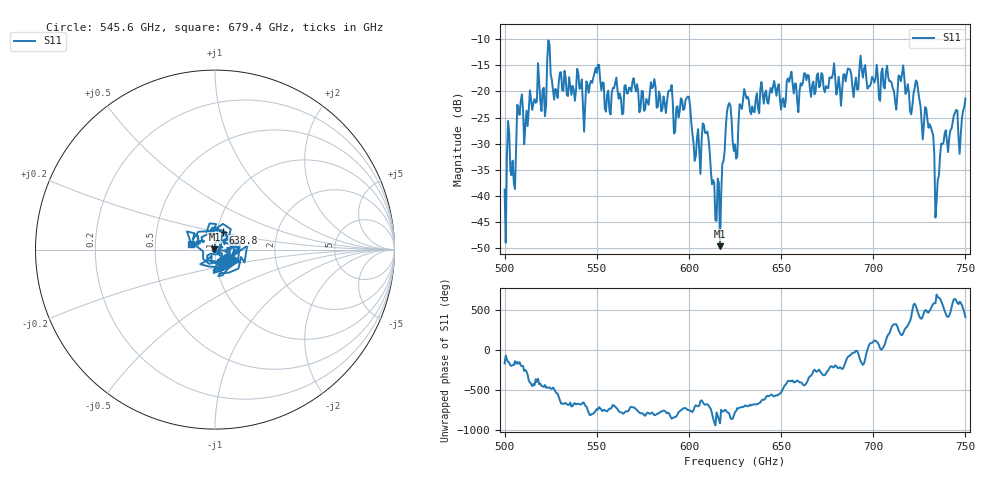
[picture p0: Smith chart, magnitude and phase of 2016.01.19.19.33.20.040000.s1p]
!Created with skrf (http://scikit-rf.org).
# GHz S RI R 50.0
!freq ReS11 ImS11
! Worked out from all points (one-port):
!   401 points, 500 GHz to 750 GHz, reference 50 ohm
!   lowest |S11| = -49.7 dB at 616.9 GHz (marker M1), VSWR 1.01, Z = 49.7 + j0.0827 ohm
!   |S11| at or under -10 dB: start of sweep to end of sweep
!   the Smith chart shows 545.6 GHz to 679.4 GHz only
!   S11 on the Smith chart (normalised r, x): 545.6 GHz: 1.08, -0.19; 638.8 GHz: 1.07, +0.21; 679.4 GHz: 0.77, +0.05
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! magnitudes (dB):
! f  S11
! 500 GHz  -38.8
! 502.5 GHz  -27.9
! 505 GHz  -37.5
! 508.1 GHz  -24.5
! 521.2 GHz  -19.3
! 524.4 GHz  -11.0
! 527.5 GHz  -19.5
! 531.2 GHz  -19.8
! 545.6 GHz  -20.2
! 562.5 GHz  -20.4
! 593.8 GHz  -22.8
! 599.4 GHz  -21.0
! 605 GHz  -27.2
! 608.8 GHz  -27.9
! 613.8 GHz  -37.6
! 616.9 GHz  -49.7
! 621.2 GHz  -22.8
! 625 GHz  -30.1
! 628.8 GHz  -23.4
! 638.8 GHz  -19.6
! 656.2 GHz  -18.5
! 679.4 GHz  -17.4
! 687.5 GHz  -15.8
! 718.8 GHz  -18.6
! 729.4 GHz  -25.3
! 735 GHz  -36.9
! 738.1 GHz  -29.8
! 750 GHz  -21.4
